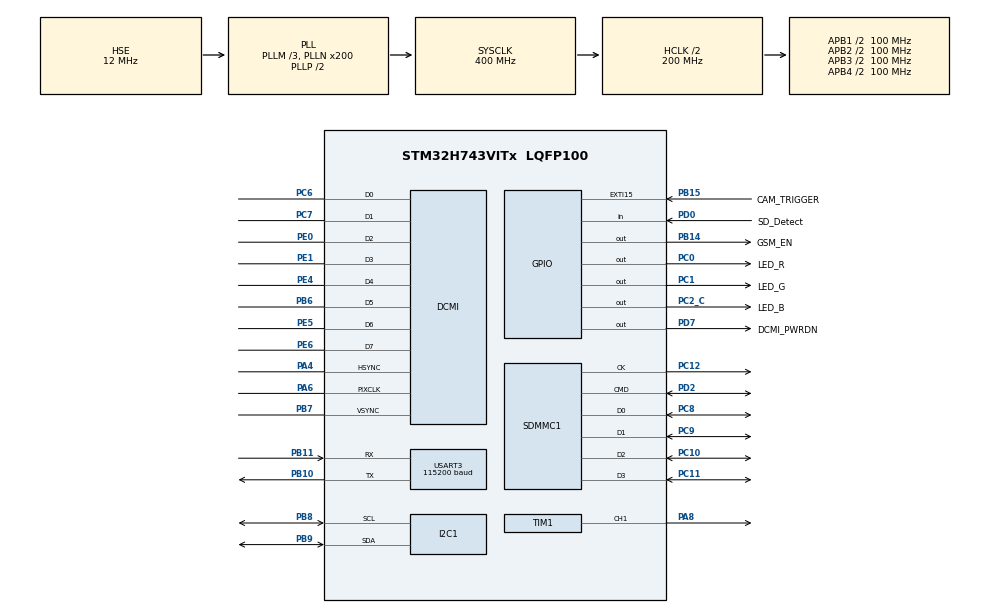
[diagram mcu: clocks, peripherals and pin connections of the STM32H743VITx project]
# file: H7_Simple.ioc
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DCMI.HSPolarity=DCMI_HSPOLARITY_LOW
DCMI.PCKPolarity=DCMI_PCKPOLARITY_RISING
DCMI.VSPolarity=DCMI_VSPOLARITY_LOW
Dma.DCMI.2.Direction=DMA_PERIPH_TO_MEMORY
Dma.DCMI.2.EventEnable=DISABLE
Dma.DCMI.2.FIFOMode=DMA_FIFOMODE_DISABLE
Dma.DCMI.2.Instance=DMA1_Stream1
Dma.DCMI.2.MemDataAlignment=DMA_MDATAALIGN_WORD
Dma.DCMI.2.MemInc=DMA_MINC_ENABLE
Dma.DCMI.2.Mode=DMA_NORMAL
Dma.DCMI.2.PeriphDataAlignment=DMA_PDATAALIGN_WORD
Dma.DCMI.2.PeriphInc=DMA_PINC_DISABLE
Dma.DCMI.2.Polarity=HAL_DMAMUX_REQ_GEN_RISING
Dma.DCMI.2.Priority=DMA_PRIORITY_HIGH
Dma.DCMI.2.RequestNumber=1
Dma.DCMI.2.SignalID=NONE
Dma.DCMI.2.SyncEnable=DISABLE
Dma.DCMI.2.SyncPolarity=HAL_DMAMUX_SYNC_NO_EVENT
Dma.DCMI.2.SyncRequestNumber=1
Dma.DCMI.2.SyncSignalID=NONE
Dma.Request0=USART3_TX
Dma.Request1=USART3_RX
Dma.Request2=DCMI
Dma.USART3_RX.1.Direction=DMA_PERIPH_TO_MEMORY
Dma.USART3_RX.1.EventEnable=DISABLE
Dma.USART3_RX.1.FIFOMode=DMA_FIFOMODE_DISABLE
Dma.USART3_RX.1.Instance=DMA1_Stream2
Dma.USART3_RX.1.MemDataAlignment=DMA_MDATAALIGN_BYTE
Dma.USART3_RX.1.MemInc=DMA_MINC_ENABLE
Dma.USART3_RX.1.Mode=DMA_NORMAL
Dma.USART3_RX.1.PeriphDataAlignment=DMA_PDATAALIGN_BYTE
Dma.USART3_RX.1.PeriphInc=DMA_PINC_DISABLE
Dma.USART3_RX.1.Polarity=HAL_DMAMUX_REQ_GEN_RISING
Dma.USART3_RX.1.Priority=DMA_PRIORITY_LOW
Dma.USART3_RX.1.RequestNumber=1
Dma.USART3_RX.1.SignalID=NONE
Dma.USART3_RX.1.SyncEnable=DISABLE
Dma.USART3_RX.1.SyncPolarity=HAL_DMAMUX_SYNC_NO_EVENT
Dma.USART3_RX.1.SyncRequestNumber=1
Dma.USART3_RX.1.SyncSignalID=NONE
Dma.USART3_TX.0.Direction=DMA_MEMORY_TO_PERIPH
Dma.USART3_TX.0.EventEnable=DISABLE
Dma.USART3_TX.0.FIFOMode=DMA_FIFOMODE_DISABLE
Dma.USART3_TX.0.Instance=DMA1_Stream0
Dma.USART3_TX.0.MemDataAlignment=DMA_MDATAALIGN_BYTE
Dma.USART3_TX.0.MemInc=DMA_MINC_ENABLE
Dma.USART3_TX.0.Mode=DMA_NORMAL
Dma.USART3_TX.0.PeriphDataAlignment=DMA_PDATAALIGN_BYTE
Dma.USART3_TX.0.PeriphInc=DMA_PINC_DISABLE
Dma.USART3_TX.0.Polarity=HAL_DMAMUX_REQ_GEN_RISING
Dma.USART3_TX.0.Priority=DMA_PRIORITY_LOW
Dma.USART3_TX.0.RequestNumber=1
Dma.USART3_TX.0.SignalID=NONE
Dma.USART3_TX.0.SyncEnable=DISABLE
Dma.USART3_TX.0.SyncPolarity=HAL_DMAMUX_SYNC_NO_EVENT
Dma.USART3_TX.0.SyncRequestNumber=1
Dma.USART3_TX.0.SyncSignalID=NONE
FATFS.BSP.number=1
FATFS._FS_EXFAT=1
FATFS._FS_RPATH=2
FATFS._FS_TINY=1
FATFS._USE_LFN=1
FATFS0.BSP.STBoard=false
FATFS0.BSP.api=Unknown
FATFS0.BSP.i2caddr=0
FATFS0.BSP.instance=PD0
FATFS0.BSP.ip=GPIO
FATFS0.BSP.mode=Input
FATFS0.BSP.name=Detect_SDIO
FATFS0.BSP.solution=PD0
I2C1.Timing=0x10C0ECFF
Mcu.Family=STM32H7
Mcu.Name=STM32H743VITx
Mcu.Package=LQFP100
NVIC.DCMI_IRQn=true\:0\:0\:false\:true\:true\:2\:true\:true
NVIC.DMA1_Stream0_IRQn=true\:0\:0\:false\:false\:true\:false\:true
NVIC.DMA1_Stream1_IRQn=true\:0\:0\:false\:true\:true\:1\:false\:true
NVIC.DMA1_Stream2_IRQn=true\:0\:0\:false\:false\:true\:false\:true
NVIC.EXTI15_10_IRQn=true\:0\:0\:false\:false\:true\:true\:true
NVIC.PriorityGroup=NVIC_PRIORITYGROUP_4
NVIC.SDMMC1_IRQn=true\:0\:0\:false\:false\:true\:true\:true
PA4.Mode=Slave_8_bits_External_Synchro
PA4.Signal=DCMI_HSYNC
PA6.Mode=Slave_8_bits_External_Synchro
PA6.Signal=DCMI_PIXCLK
PA8.Signal=S_TIM1_CH1
PB10.Mode=Asynchronous
PB10.Signal=USART3_TX
PB11.Mode=Asynchronous
PB11.Signal=USART3_RX
PB14.GPIO_Label=GSM_EN
PB14.Signal=GPIO_Output
PB15.GPIO_Label=CAM_TRIGGER
PB15.GPIO_ModeDefaultEXTI=GPIO_MODE_IT_FALLING
PB15.GPIO_PuPd=GPIO_PULLUP
PB15.Signal=GPXTI15
PB6.Mode=Slave_8_bits_External_Synchro
PB6.Signal=DCMI_D5
PB7.Mode=Slave_8_bits_External_Synchro
PB7.Signal=DCMI_VSYNC
PB8.Mode=I2C
PB8.Signal=I2C1_SCL
PB9.Mode=I2C
PB9.Signal=I2C1_SDA
PC0.GPIO_Label=LED_R
PC0.GPIO_PuPd=GPIO_PULLUP
PC0.PinState=GPIO_PIN_SET
PC0.Signal=GPIO_Output
PC1.GPIO_Label=LED_G
PC1.GPIO_PuPd=GPIO_PULLUP
PC1.PinState=GPIO_PIN_SET
PC1.Signal=GPIO_Output
PC10.Mode=SD_4_bits_Wide_bus
PC10.Signal=SDMMC1_D2
PC11.Mode=SD_4_bits_Wide_bus
PC11.Signal=SDMMC1_D3
PC12.Mode=SD_4_bits_Wide_bus
PC12.Signal=SDMMC1_CK
PC2_C.GPIO_Label=LED_B
PC2_C.GPIO_PuPd=GPIO_PULLUP
PC2_C.PinState=GPIO_PIN_SET
PC2_C.Signal=GPIO_Output
PC6.Mode=Slave_8_bits_External_Synchro
PC6.Signal=DCMI_D0
PC7.Mode=Slave_8_bits_External_Synchro
PC7.Signal=DCMI_D1
PC8.Mode=SD_4_bits_Wide_bus
PC8.Signal=SDMMC1_D0
PC9.Mode=SD_4_bits_Wide_bus
PC9.Signal=SDMMC1_D1
PD0.GPIO_Label=SD_Detect
PD0.GPIO_PuPd=GPIO_PULLUP
PD0.Signal=GPIO_Input
PD2.Mode=SD_4_bits_Wide_bus
PD2.Signal=SDMMC1_CMD
PD7.GPIO_Label=DCMI_PWRDN
PD7.Signal=GPIO_Output
PE0.Mode=Slave_8_bits_External_Synchro
PE0.Signal=DCMI_D2
PE1.Mode=Slave_8_bits_External_Synchro
PE1.Signal=DCMI_D3
PE4.Mode=Slave_8_bits_External_Synchro
PE4.Signal=DCMI_D4
PE5.Mode=Slave_8_bits_External_Synchro
PE5.Signal=DCMI_D6
PE6.Mode=Slave_8_bits_External_Synchro
PE6.Signal=DCMI_D7
PH0-OSC_IN\ (PH0).Mode=HSE-External-Oscillator
PH0-OSC_IN\ (PH0).Signal=RCC_OSC_IN
PH1-OSC_OUT\ (PH1).Mode=HSE-External-Oscillator
PH1-OSC_OUT\ (PH1).Signal=RCC_OSC_OUT
ProjectManager.HeapSize=0x200
ProjectManager.StackSize=0x400
ProjectManager.TargetToolchain=Makefile
RCC.ADCFreq_Value=24187500
RCC.APB1Freq_Value=100000000
RCC.APB2Freq_Value=100000000
RCC.APB3Freq_Value=100000000
RCC.APB4Freq_Value=100000000
RCC.CortexFreq_Value=400000000
RCC.D1PPRE=RCC_APB3_DIV2
RCC.D2PPRE1=RCC_APB1_DIV2
RCC.D2PPRE2=RCC_APB2_DIV2
RCC.D3PPRE=RCC_APB4_DIV2
RCC.DIVM1=3
RCC.DIVN1=200
RCC.DIVQ1=80
RCC.HCLKFreq_Value=200000000
RCC.HPRE=RCC_HCLK_DIV2
RCC.HSE_VALUE=12000000
RCC.HSICalibrationValue=30
RCC.PLL2FRACN=0
RCC.PLL3FRACN=0
RCC.PLLFRACN=0
RCC.PLLSourceVirtual=RCC_PLLSOURCE_HSE
RCC.PWR_Regulator_Voltage_Scale=PWR_REGULATOR_VOLTAGE_SCALE1
RCC.RCC_MCODiv1=RCC_MCODIV_4
RCC.SYSCLKFreq_VALUE=400000000
RCC.SYSCLKSource=RCC_SYSCLKSOURCE_PLLCLK
RCC.SupplySource=PWR_LDO_SUPPLY
RCC.USBFreq_Value=10000000
SH.S_TIM1_CH1.0=TIM1_CH1,PWM Generation1 CH1
TIM1.AutoReloadPreload=TIM_AUTORELOAD_PRELOAD_ENABLE
TIM1.Channel-PWM\ Generation1\ CH1=TIM_CHANNEL_1
TIM1.OCMode_PWM-PWM\ Generation1\ CH1=TIM_OCMODE_PWM1
TIM1.Period=16
TIM1.Prescaler=0
TIM1.Pulse-PWM\ Generation1\ CH1=4
USART3.BaudRate=115200
USART3.VirtualMode-Asynchronous=VM_ASYNC
VP_FATFS_VS_SDIO.Mode=SDIO
VP_TIM1_VS_ClockSourceINT.Mode=Internal
board=custom

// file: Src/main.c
/* USER CODE BEGIN Header */
/**
  ******************************************************************************
  * @file           : main.c
  * @brief          : Main program body
  ******************************************************************************
  * @attention
  *
  * <h2><center>&copy; Copyright (c) 2019 STMicroelectronics.
  * All rights reserved.</center></h2>
  *
  * This software component is licensed by ST under Ultimate Liberty license
  * SLA0044, the "License"; You may not use this file except in compliance with
  * the License. You may obtain a copy of the License at:
  *                             www.st.com/SLA0044
  *
  ******************************************************************************
  */
/* USER CODE END Header */

#include "main.h"
#include "dcmi.h"
#include "dma.h"
#include "fatfs.h"
#include "i2c.h"
#include "sdmmc.h"
#include "tim.h"
#include "usart.h"
#include "gpio.h"

/* USER CODE BEGIN Includes */
#include "camera.h"
#include "stdio.h"
#include "ar0135.h"
#include "ov7725.h"
#include "ov7725_regs.h"

/* USER CODE END Includes */

/* USER CODE BEGIN PTD */

typedef enum
{
    CAM_TRIG,
    CAM_FLASH,
    CAM_SAVE,
    CAM_DONE,

}camera_state_t;

typedef enum
{
    AT_READ,
    AT_SEND,
    AT_UPDATE,
}at_state_t;

typedef enum
{
    MOD_INIT,
    MOD_STRAT,
    MOD_STOP,
}module_state_t;

typedef enum
{
    MOTION_MOD,
    LIGHT_MOD,
    CAMERA_MOD,
    MOD_MAX,

}modules_t;

#define FILE_OPER_MAX_TRY 3

#define FLASH_TICKS 600

#define SHOT_TICKS 1250

/* USER CODE END PTD */

/* USER CODE BEGIN PD */
int cambus_scan()
{
    for (uint8_t addr=0x08; addr<=0x77; addr++) {
//        HAL_Delay (10);
        __disable_irq() ;
        if (HAL_I2C_IsDeviceReady(&hi2c1, addr << 1, 1, 100) == HAL_OK) {
            __enable_irq() ;
            return (addr << 1) ;
        }
        __enable_irq() ;
    }

    return 0;
}
/* USER CODE END PD */

/* USER CODE BEGIN PV */
extern uint8_t _fb_base;

FIL fp;

uint8_t * p_fb_base = &_fb_base;

static uint32_t g_expo_us;

static uint32_t g_file_no;

const uint8_t ppm_header[] = {'P','5','\n','3','2','0',' ','2','4','0','\n','2','5','5','\n'};

volatile module_state_t g_arr_mod_state[MOD_MAX];
/* USER CODE END PV */

void SystemClock_Config(void);
static void MX_NVIC_Init(void);

/* USER CODE BEGIN 0 */
void print_idata ()
{
    for(uint32_t row = 100; row < 110; row++)
    {
        for(uint32_t col = 100; col < 110; col++)
        {
            printf("%d ",p_fb_base[row * col]);
        }
        printf("\n");
    }
}
/* USER CODE END 0 */

int main(void)
{

  /* MCU Configuration--------------------------------------------------------*/

  /* Reset of all peripherals, Initializes the Flash interface and the Systick. */
  HAL_Init();

  /* Configure the system clock */
  SystemClock_Config();

  /* Initialize all configured peripherals */
  MX_GPIO_Init();
  MX_DMA_Init();
  MX_I2C1_Init();
  MX_USART3_UART_Init();
  MX_TIM1_Init();
  MX_DCMI_Init();
  MX_SDMMC1_SD_Init();
  MX_FATFS_Init();

  /* Initialize interrupts */
  MX_NVIC_Init();
  /* USER CODE BEGIN 2 */

//  HAL_I2C_MspInit (&hi2c1);
  printf("Hello World\n");

  printf ("FB Base : 0x%x Pointer : 0x%x\n", &_fb_base, p_fb_base);
  printf ("Size of PPM Header : %d\n", sizeof(ppm_header));
  HAL_TIM_PWM_Start (&htim1, TIM_CHANNEL_1);
  memset (p_fb_base, 0, 240*576);
  HAL_Delay (10);

  g_arr_mod_state[CAMERA_MOD] = MOD_INIT;
  sd_init ();
  get_file_no ();
  print_idata ();

  uint32_t cam = cambus_scan ();
  printf ("Cam : 0x%x\n", cam);
  printf("Version : 0x%x\n",CAMERA_IO_Read (0x42, VER));

  ov7725_drv.Init(cam, FRAMESIZE_QVGA);
////
  HAL_Delay (100);
//
  HAL_DCMI_Start_DMA (&hdcmi, DCMI_MODE_SNAPSHOT, (uint32_t)p_fb_base, 200*200);
  g_arr_mod_state[CAMERA_MOD] = MOD_STRAT;

  HAL_Delay (1000);
//  while(HAL_DCMI_GetState (&hdcmi) == HAL_DCMI_STATE_BUSY);
//
  printf ("DCMI State 0x%x Error 0x%x\n",hdcmi.State, hdcmi.ErrorCode);
  printf ("DMA State 0x%x Error 0x%x\n",hdcmi.DMA_Handle->State, hdcmi.DMA_Handle->ErrorCode);
  print_idata ();
//  memcpy (p_fb_base, ppm_header, sizeof(ppm_header));
//
  g_file_no++;
  write_sd_card (g_file_no);
  /* USER CODE END 2 */

  /* Infinite loop */
  while (1)
  {

  }
}

void SystemClock_Config(void)
{
  RCC_OscInitTypeDef RCC_OscInitStruct = {0};
  RCC_ClkInitTypeDef RCC_ClkInitStruct = {0};
  RCC_PeriphCLKInitTypeDef PeriphClkInitStruct = {0};

  /** Supply configuration update enable
  */
  HAL_PWREx_ConfigSupply(PWR_LDO_SUPPLY);
  /** Configure the main internal regulator output voltage
  */
  __HAL_PWR_VOLTAGESCALING_CONFIG(PWR_REGULATOR_VOLTAGE_SCALE0);

  while(!__HAL_PWR_GET_FLAG(PWR_FLAG_VOSRDY)) {}
  /** Initializes the CPU, AHB and APB busses clocks
  */
  RCC_OscInitStruct.OscillatorType = RCC_OSCILLATORTYPE_HSE;
  RCC_OscInitStruct.HSEState = RCC_HSE_ON;
  RCC_OscInitStruct.PLL.PLLState = RCC_PLL_ON;
  RCC_OscInitStruct.PLL.PLLSource = RCC_PLLSOURCE_HSE;
  RCC_OscInitStruct.PLL.PLLM = 3;
  RCC_OscInitStruct.PLL.PLLN = 200;
  RCC_OscInitStruct.PLL.PLLP = 2;
  RCC_OscInitStruct.PLL.PLLQ = 80;
  RCC_OscInitStruct.PLL.PLLR = 2;
  RCC_OscInitStruct.PLL.PLLRGE = RCC_PLL1VCIRANGE_2;
  RCC_OscInitStruct.PLL.PLLVCOSEL = RCC_PLL1VCOWIDE;
  RCC_OscInitStruct.PLL.PLLFRACN = 0;
  if (HAL_RCC_OscConfig(&RCC_OscInitStruct) != HAL_OK)
  {
    Error_Handler();
  }
  /** Initializes the CPU, AHB and APB busses clocks
  */
  RCC_ClkInitStruct.ClockType = RCC_CLOCKTYPE_HCLK|RCC_CLOCKTYPE_SYSCLK
                              |RCC_CLOCKTYPE_PCLK1|RCC_CLOCKTYPE_PCLK2
                              |RCC_CLOCKTYPE_D3PCLK1|RCC_CLOCKTYPE_D1PCLK1;
  RCC_ClkInitStruct.SYSCLKSource = RCC_SYSCLKSOURCE_PLLCLK;
  RCC_ClkInitStruct.SYSCLKDivider = RCC_SYSCLK_DIV1;
  RCC_ClkInitStruct.AHBCLKDivider = RCC_HCLK_DIV2;
  RCC_ClkInitStruct.APB3CLKDivider = RCC_APB3_DIV2;
  RCC_ClkInitStruct.APB1CLKDivider = RCC_APB1_DIV2;
  RCC_ClkInitStruct.APB2CLKDivider = RCC_APB2_DIV2;
  RCC_ClkInitStruct.APB4CLKDivider = RCC_APB4_DIV2;

  if (HAL_RCC_ClockConfig(&RCC_ClkInitStruct, FLASH_LATENCY_2) != HAL_OK)
  {
    Error_Handler();
  }
  PeriphClkInitStruct.PeriphClockSelection = RCC_PERIPHCLK_USART3|RCC_PERIPHCLK_SDMMC
                              |RCC_PERIPHCLK_I2C1;
  PeriphClkInitStruct.SdmmcClockSelection = RCC_SDMMCCLKSOURCE_PLL;
  PeriphClkInitStruct.Usart234578ClockSelection = RCC_USART234578CLKSOURCE_D2PCLK1;
  PeriphClkInitStruct.I2c123ClockSelection = RCC_I2C123CLKSOURCE_D2PCLK1;
  if (HAL_RCCEx_PeriphCLKConfig(&PeriphClkInitStruct) != HAL_OK)
  {
    Error_Handler();
  }
}

/**
  * @brief NVIC Configuration.
  * @retval None
  */
static void MX_NVIC_Init(void)
{
  /* DCMI_IRQn interrupt configuration */
  HAL_NVIC_SetPriority(DCMI_IRQn, 0, 1);
  HAL_NVIC_EnableIRQ(DCMI_IRQn);
  /* DMA1_Stream1_IRQn interrupt configuration */
  HAL_NVIC_SetPriority(DMA1_Stream1_IRQn, 0, 0);
  HAL_NVIC_EnableIRQ(DMA1_Stream1_IRQn);
}

/* USER CODE BEGIN 4 */
void HAL_DCMI_LineEventCallback (DCMI_HandleTypeDef* hdcmi)
{
    static uint32_t hsync_count = 0;

//    printf("Hsync : %d\n",hsync_count++);
}

void HAL_DCMI_VsyncEventCallback (DCMI_HandleTypeDef* hdcmi)
{
//    printf("Vsync\n");
  g_arr_mod_state[CAMERA_MOD] = MOD_STOP;
}

void sd_init (void)
{
    uint32_t status;
  if(BSP_SD_IsDetected ())
  {
      printf("SD Card detected\n");
      HAL_Delay (100);
      status = SD_initialize (0);
      if(status  == RES_OK)
      {
          printf("SD Card ready\n");
          HAL_Delay (100);
          status = f_mount (&SDFatFS, (const TCHAR*)SDPath, 1);
          if(status == FR_OK)
          {
              printf("Mount successful\n");

          }
          else {printf("Mount Failed : %d\n", status);}
      }
      else {printf("SD Card not ready : %d 0x%x\n", hsd1.State, status);}
  }
  else{printf("SD Card not present\n");}
}

void write_sd_card (uint32_t file_no)
{
//    while(hdcmi.State != HAL_DCMI_STATE_READY);
    static attempts_remain = FILE_OPER_MAX_TRY;
    uint32_t status = 0;
    uint8_t file_name[] = {'f','o','o','_','x','x','x','x','.','r','g','b', '\0'};

    file_name[4] = (file_no/1000) + 0x30;
    file_name[5] = ((file_no%1000)/100) + 0x30;
    file_name[6] = ((file_no%100)/10) + 0x30;
    file_name[7] = (file_no%10) + 0x30;

    printf("Attempt : %d\n", FILE_OPER_MAX_TRY - attempts_remain + 1);
    printf ("upcoming file name : %x %x %x %x\n", file_name[4],file_name[5],file_name[6],file_name[7]);
    if(attempts_remain > 0)
    {
        status = f_open (&fp, (char *)file_name, FA_CREATE_ALWAYS | FA_WRITE);
//        status = f_open (&fp, "0020.rgb", FA_CREATE_ALWAYS | FA_WRITE);
        if(status == FR_OK)
        {
            uint8_t byteswritten;
            printf("File open\n");
            status = f_write (&fp,(void *)p_fb_base, 320*240, &byteswritten);
            if(status == FR_OK)
            {
                status = f_close (&fp);
                if(status == FR_OK)
                {
                    printf("Safe to remove SD Card\n");
                    attempts_remain = FILE_OPER_MAX_TRY;
                    return status;
                }
                else
                {
                    printf("Failed while appending : %d\n", status);
                    f_close (&fp);
                    attempts_remain--;
                    write_sd_card (file_no);
                }
            }
            else
            {
                printf("File write failed : %d\n", status);
                f_close (&fp);
                attempts_remain--;
                write_sd_card (file_no);
            }
        }
        else
        {
            printf("File open failed : %d\n",status);
            f_close (&fp);
            attempts_remain--;
            write_sd_card (file_no);
        }
    }
    else
    {
        printf("All attempts failed\n");
        g_file_no--;
        attempts_remain = FILE_OPER_MAX_TRY;
    }

}

uint32_t file_name_to_no (uint8_t * f_name)
{
    uint32_t file_no = 0;
    file_no = ((f_name[4] > 0x29) && (f_name[4] < 0x3A)) ?
        (((f_name[4] - 0x30) * 1000) +
        ((f_name[5] - 0x30) * 100) +
        ((f_name[6] - 0x30) * 10) +
        ((f_name[7] - 0x30) * 1)) :
        g_file_no;
    return (file_no < g_file_no) ? g_file_no : file_no;
}

void get_file_no ()
{
    printf("%s\n", __func__);
    uint32_t status;
    uint32_t no_bytes;
    uint8_t file_buff[4];
    FILINFO file_info;
    DIR dp;
    status = f_opendir (&dp, "/");
    if(status == FR_OK)
    {
        do
        {
            status = f_readdir (&dp, &file_info);
            if(status == FR_OK)
            {

                g_file_no = file_name_to_no ((uint8_t *)file_info.fname);

                printf("%s\n",file_info.fname);
            }else{printf("Read dir failed : %d\n",status);}

        }while(file_info.fname[0] != '\0');
        printf("File Number : %d\n", g_file_no);
        status = f_closedir (&dp);
        if(status == FR_OK)
        {
            printf("DIR Close\n");
        }else{printf("Close DIR failed : 0x%x\n", status);}
    }else{printf("DIR open failed : 0x%x\n", status);}
}

/* USER CODE END 4 */

void Error_Handler(void)
{
}

/************************ (C) COPYRIGHT STMicroelectronics *****END OF FILE****/
